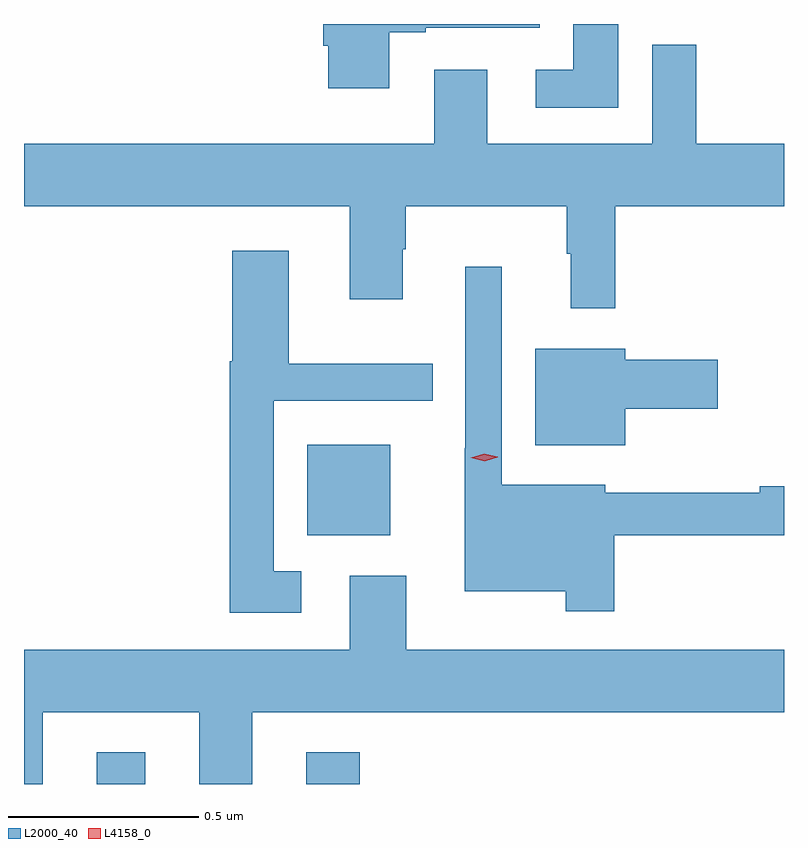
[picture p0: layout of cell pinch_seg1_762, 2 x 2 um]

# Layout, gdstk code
import gdstk
lib = gdstk.Library(unit=1e-6, precision=1e-09)
def R(c, l, rs):  # rectangles x0, y0, x1, y1
    for r in rs: c.add(gdstk.rectangle(r[:2], r[2:], *l))
def P(c, l, *ps):  # polygons
    for p in ps: c.add(gdstk.Polygon(p, *l))
L2000_40 = (2000, 40)
L4158_0 = (4158, 0)

pinch_seg1_762 = lib.new_cell('pinch_seg1_762')
R(pinch_seg1_762, L2000_40, [(858.071,519.575,858.199,519.658), (858.623,519.575,858.764,519.658), (858.626,520.229,858.844,520.468)])
P(pinch_seg1_762, L2000_40, [(858.841,521.553),(858.937,521.553),(858.937,521.565),(859.237,521.565),(859.237,521.575),(858.668,521.575),(858.668,521.518),(858.68,521.518),(858.68,521.406),(858.841,521.406)],
  [(859.444,521.575),(859.325,521.575),(859.325,521.455),(859.227,521.455),(859.227,521.354),(859.444,521.354)],
  [(859.436,521.096),(859.88,521.096),(859.88,521.26),(859.649,521.26),(859.649,521.52),(859.533,521.52),(859.533,521.26),(859.099,521.26),(859.099,521.455),(858.959,521.455),(858.959,521.26),(857.88,521.26),(857.88,521.096),(858.737,521.096),(858.737,520.851),(858.877,520.851),(858.877,520.982),(858.885,520.982),(858.885,521.096),(859.308,521.096),(859.308,520.97),(859.319,520.97),(859.319,520.827),(859.436,520.827)],
  [(858.61,520.135),(858.537,520.135),(858.537,520.584),(858.956,520.584),(858.956,520.681),(858.577,520.681),(858.577,520.978),(858.428,520.978),(858.428,520.687),(858.421,520.687),(858.421,520.026),(858.61,520.026)],
  [(859.433,520.23),(859.88,520.23),(859.88,520.358),(859.816,520.358),(859.816,520.341),(859.41,520.341),(859.41,520.363),(859.137,520.363),(859.137,520.936),(859.041,520.936),(859.041,520.459),(859.04,520.459),(859.04,520.082),(859.305,520.082),(859.305,520.029),(859.433,520.029)],
  [(859.462,520.562),(859.705,520.562),(859.705,520.692),(859.462,520.692),(859.462,520.72),(859.226,520.72),(859.226,520.466),(859.462,520.466)],
  [(857.929,519.764),(858.341,519.764),(858.341,519.575),(858.481,519.575),(858.481,519.764),(859.88,519.764),(859.88,519.928),(858.886,519.928),(858.886,520.123),(858.737,520.123),(858.737,519.928),(857.88,519.928),(857.88,519.575),(857.929,519.575)])
P(pinch_seg1_762, L4158_0, [(859.092,520.424),(859.056,520.433),(859.055,520.433),(859.056,520.433),(859.091,520.444),(859.127,520.436),(859.127,520.436),(859.127,520.435)])

lib.write_gds('pinch_seg1_762.gds')
